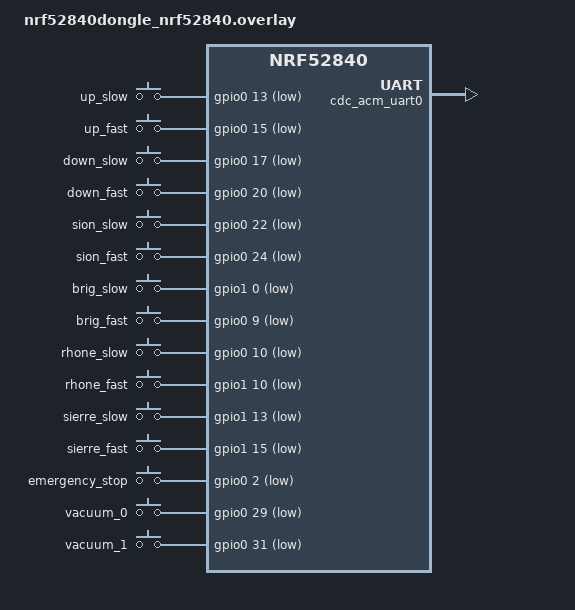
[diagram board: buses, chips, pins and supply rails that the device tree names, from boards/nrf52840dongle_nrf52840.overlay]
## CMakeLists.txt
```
cmake_minimum_required(VERSION 3.20.0)
find_package(Zephyr REQUIRED HINTS $ENV{ZEPHYR_BASE})

project(nrf52840_remote_vr)

target_sources(app PRIVATE
    src/main.c
    src/buttons_service.c
    src/buttons.c
)

# NORDIC SDK APP END
zephyr_library_include_directories(.)
```

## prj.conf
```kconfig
# Logger module
CONFIG_LOG=y

# Button and LED library
CONFIG_DK_LIBRARY=y

# Bluetooth LE
CONFIG_BT=y
CONFIG_BT_PERIPHERAL=y
CONFIG_BT_DEVICE_NAME="Remote_VR"

# Increase stack size for the main thread and System Workqueue
CONFIG_SYSTEM_WORKQUEUE_STACK_SIZE=2048
CONFIG_MAIN_STACK_SIZE=2048

# LOG USB
CONFIG_USB_DEVICE_STACK=y
CONFIG_USB_CDC_ACM=y
CONFIG_SERIAL=y
CONFIG_UART_CONSOLE=y
CONFIG_LOG=y
CONFIG_LOG_BACKEND_UART=y
CONFIG_LOG_MODE_IMMEDIATE=y
```

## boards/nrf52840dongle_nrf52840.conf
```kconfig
# USB stack and CDC ACM settings
CONFIG_USB_DEVICE_STACK=y
CONFIG_USB_DEVICE_REMOTE_WAKEUP=n
CONFIG_USB_CDC_ACM=y
CONFIG_USB_DEVICE_MANUFACTURER="Nordic Semiconductor ASA"
CONFIG_USB_DEVICE_PRODUCT="nRF52840 Dongle"
CONFIG_USB_DEVICE_VID=0x1915
CONFIG_USB_DEVICE_PID=0x0001
CONFIG_USB_DEVICE_INITIALIZE_AT_BOOT=y
CONFIG_USB_DEVICE_LOG_LEVEL_OFF=y
CONFIG_USB_CDC_ACM_LOG_LEVEL_OFF=y
CONFIG_USB_CDC_ACM_RINGBUF_SIZE=2048

# Console settings
CONFIG_CONSOLE=y
CONFIG_SERIAL=y
CONFIG_UART_CONSOLE=y
CONFIG_UART_INTERRUPT_DRIVEN=y

# Logger settings
CONFIG_LOG=y
CONFIG_LOG_BACKEND_UART=y
CONFIG_LOG_MODE_DEFERRED=y
#CONFIG_LOG_MODE_IMMEDIATE=y
```

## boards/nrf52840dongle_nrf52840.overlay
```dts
// To get started, press Ctrl+Space to bring up the completion menu and view the available nodes.

// You can also use the buttons in the sidebar to perform actions on nodes.
// Actions currently available include:

// * Enabling / disabling the node
// * Adding the bus to a bus
// * Removing the node
// * Connecting ADC channels

// For more help, browse the DeviceTree documentation at https://docs.zephyrproject.org/latest/guides/dts/index.html
// You can also visit the nRF DeviceTree extension documentation at https://docs.nordicsemi.com/bundle/nrf-connect-vscode/page/guides/ncs_configure_app.html#devicetree-support-in-the-extension


&zephyr_udc0 {
	cdc_acm_uart0: cdc_acm_uart0 {
		compatible = "zephyr,cdc-acm-uart";
		status = "okay";
	};
};

&i2c0 {
	status = "disabled";
};

&uart0 {
	status = "disabled";
};

&spi1 {
	status = "disabled";
};

&pinctrl {
	spi1_default: spi1_default { status = "disabled"; };
	spi1_sleep: spi1_sleep { status = "disabled"; };
		
    uart0_default: uart0_default { status = "disabled"; };
    uart0_sleep: uart0_sleep { status = "disabled"; };

    i2c0_default: i2c0_default { status = "disabled"; };
    i2c0_sleep: i2c0_sleep { status = "disabled"; };

    pwm0_default: pwm0_default { status = "disabled"; };
    pwm0_sleep: pwm0_sleep { status = "disabled"; };
};

&pwm0 {
	status = "disabled";
};

/ {
	chosen {
		zephyr,console = &cdc_acm_uart0;
	};

	buttons {
		compatible = "gpio-keys";

		button_1: button_1 {
			gpios = <&gpio0 13 (GPIO_ACTIVE_LOW | GPIO_PULL_UP)>;
			label = "up_slow";
		};

		button_2: button_2 {
			gpios = <&gpio0 15 (GPIO_ACTIVE_LOW | GPIO_PULL_UP)>;
			label = "up_fast";
		};

		button_3: button_3 {
			gpios = <&gpio0 17 (GPIO_ACTIVE_LOW | GPIO_PULL_UP)>;
			label = "down_slow";
		};

		button_4: button_4 {
			gpios = <&gpio0 20 (GPIO_ACTIVE_LOW | GPIO_PULL_UP)>;
			label = "down_fast";
		};

		button_5: button_5 {
			gpios = <&gpio0 22 (GPIO_ACTIVE_LOW | GPIO_PULL_UP)>;
			label = "sion_slow";
		};

		button_6: button_6 {
			gpios = <&gpio0 24 (GPIO_ACTIVE_LOW | GPIO_PULL_UP)>;
			label = "sion_fast";
		};

		button_7: button_7 {
			gpios = <&gpio1 0 (GPIO_ACTIVE_LOW | GPIO_PULL_UP)>;
			label = "brig_slow";
		};

		button_8: button_8 {
			gpios = <&gpio0 9 (GPIO_ACTIVE_LOW | GPIO_PULL_UP)>;
			label = "brig_fast";
		};

		button_9: button_9 {
			gpios = <&gpio0 10 (GPIO_ACTIVE_LOW | GPIO_PULL_UP)>;
			label = "rhone_slow";
		};

		button_10: button_10 {
			gpios = <&gpio1 10 (GPIO_ACTIVE_LOW | GPIO_PULL_UP)>;
			label = "rhone_fast";
		};

		button_11: button_11 {
			gpios = <&gpio1 13 (GPIO_ACTIVE_LOW | GPIO_PULL_UP)>;
			label = "sierre_slow";
		};

		button_12: button_12 {
			gpios = <&gpio1 15 (GPIO_ACTIVE_LOW | GPIO_PULL_UP)>;
			label = "sierre_fast";
		};

		button_13: button_13 {
			gpios = <&gpio0 2 (GPIO_ACTIVE_LOW | GPIO_PULL_UP)>;
			label = "emergency_stop";
		};

		button_14: button_14 {
			gpios = <&gpio0 29 (GPIO_ACTIVE_LOW | GPIO_PULL_UP)>;
			label = "vacuum_0";
		};

		button_15: button_15 {
			gpios = <&gpio0 31 (GPIO_ACTIVE_LOW | GPIO_PULL_UP)>;
			label = "vacuum_1";
		};
	};

	aliases {
		up-slow = &button_1;
		up-fast = &button_2;
		down-slow = &button_3;
		down-fast = &button_4;
		sion-slow = &button_5;
		sion-fast = &button_6;
		brigue-slow = &button_7;
		brigue-fast = &button_8;
		rhone-slow = &button_9;
		rhone-fast = &button_10;
		sierre-slow = &button_11;
		sierre-fast = &button_12;
		emergency-stop = &button_13;
		vacuum-0 = &button_14;
		vacuum-1 = &button_15;
	};
};
```

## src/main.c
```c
#include <zephyr/kernel.h>
#include <zephyr/logging/log.h>
#include <zephyr/bluetooth/bluetooth.h>
#include <zephyr/bluetooth/gap.h>
#include <zephyr/bluetooth/uuid.h>
#include <zephyr/bluetooth/conn.h>
#include <dk_buttons_and_leds.h>
#include "buttons_service.h"
#include "buttons.h"

/// Advertising parameters: connectable, using device identity address
static const struct bt_le_adv_param *adv_param = BT_LE_ADV_PARAM(
	(BT_LE_ADV_OPT_CONNECTABLE |
	 BT_LE_ADV_OPT_USE_IDENTITY), /* Connectable advertising and use identity address */
	800, /* Min Advertising Interval 500ms (800*0.625ms) */
	801, /* Max Advertising Interval 500.625ms (801*0.625ms) */
	NULL /* Set to NULL for undirected advertising */
);

LOG_MODULE_REGISTER(nrf52840_remote_vr, LOG_LEVEL_INF);

#define DEVICE_NAME CONFIG_BT_DEVICE_NAME
#define DEVICE_NAME_LEN (sizeof(DEVICE_NAME) - 1)

#define RUN_STATUS_LED DK_LED1
#define CON_STATUS_LED DK_LED2
#define USER_LED DK_LED3

#define STACKSIZE 1024
#define PRIORITY 7

#define RUN_LED_BLINK_INTERVAL 1000
#define NOTIFY_INTERVAL         500

/// Global variable to hold the current button state
static uint16_t app_buttons_state;

/// Advertising data: BLE flags and complete device name
static const struct bt_data ad[] = {
	BT_DATA_BYTES(BT_DATA_FLAGS, (BT_LE_AD_GENERAL | BT_LE_AD_NO_BREDR)),
	BT_DATA(BT_DATA_NAME_COMPLETE, DEVICE_NAME, DEVICE_NAME_LEN),

};

/// Scan response data: include 128-bit UUID of the buttons service
static const struct bt_data sd[] = {
	BT_DATA_BYTES(BT_DATA_UUID128_ALL, BT_UUID_BUTTONS_SERVICE_VAL),
};

/// Callback used by the GATT service to get the current button state
static uint16_t app_buttons_cb(void)
{
	return app_buttons_state;
}

/// Struct holding the application callbacks to be registered with the button service
static struct buttons_service_cb app_callbacks = {
	.buttons_cb = app_buttons_cb,
};

/// Called when button state changes
static void on_buttons_changed(uint16_t buttons_state)
{
	buttons_service_send_buttons_state_notify(buttons_state);
	app_buttons_state = buttons_state;
}

/// Called upon successful BLE connection
static void on_connected(struct bt_conn *conn, uint8_t err)
{
	if (err) {
		printk("Connection failed (err %u)\n", err);
		return;
	}

	printk("Connected\n");

	dk_set_led_on(CON_STATUS_LED);
}

/// Called when the BLE connection is terminated
static void on_disconnected(struct bt_conn *conn, uint8_t reason)
{
	printk("Disconnected (reason %u)\n", reason);

	dk_set_led_off(CON_STATUS_LED);
}

/// Register connection callbacks
struct bt_conn_cb connection_callbacks = {
	.connected = on_connected,
	.disconnected = on_disconnected,
};

int main(void)
{
	int blink_status = 0;
	int err;

	LOG_INF("Starting Remote VR device. \n");

	/// Initialize LEDs
	err = dk_leds_init();
	if (err) {
		LOG_ERR("LEDs init failed (err %d)\n", err);
		return -1;
	}

	/// Initialize buttons and set callback for state change
	err = buttons_init(on_buttons_changed);
	if (err) {
		printk("Button init failed (err %d)\n", err);
		return -1;
	}

	/// Enable Bluetooth stack
	err = bt_enable(NULL);
	if (err) {
		LOG_ERR("Bluetooth init failed (err %d)\n", err);
		return -1;
	}
	
	/// Register connection callbacks
	err = bt_conn_cb_register(&connection_callbacks);
	if (err) {
		LOG_ERR("Bluetooth connection callback register failed (err %d)\n", err);
		return -1;
	}

	/// Initialize custom button service with callback
	err = buttons_service_init(&app_callbacks);
	if (err) {
		printk("Failed to init LBS (err:%d)\n", err);
		return -1;
	}

	LOG_INF("Callback present: %d", app_callbacks.buttons_cb != NULL);
	LOG_INF("Bluetooth initialized\n");

	/// Start BLE advertising
	err = bt_le_adv_start(adv_param, ad, ARRAY_SIZE(ad), sd, ARRAY_SIZE(sd));
	if (err) {
		LOG_ERR("Advertising failed to start (err %d)\n", err);
		return -1;
	}

	LOG_INF("Advertising successfully started\n");

	/// Main loop: blink LED to indicate device is running
	for (;;) {
		dk_set_led(RUN_STATUS_LED, (++blink_status) % 2);
		k_sleep(K_MSEC(RUN_LED_BLINK_INTERVAL));
	}
}
```

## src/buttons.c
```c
#include "buttons.h"

#include <zephyr/device.h>
#include <zephyr/drivers/gpio.h>
#include <zephyr/kernel.h>
#include <zephyr/logging/log.h>

LOG_MODULE_REGISTER(buttons, LOG_LEVEL_INF);

/// Define all buttons using aliases from the DeviceTree and the enum indices 
static struct button_cfg buttons[] = {
    BUTTON_ENTRY(DT_ALIAS(up_slow),        UP_SLOW),
    BUTTON_ENTRY(DT_ALIAS(up_fast),        UP_FAST),
    BUTTON_ENTRY(DT_ALIAS(down_slow),      DOWN_SLOW),
    BUTTON_ENTRY(DT_ALIAS(down_fast),      DOWN_FAST),
    BUTTON_ENTRY(DT_ALIAS(brigue_slow),    BRIGUE_SLOW),
    BUTTON_ENTRY(DT_ALIAS(brigue_fast),    BRIGUE_FAST),
    BUTTON_ENTRY(DT_ALIAS(sion_slow),      SION_SLOW),
    BUTTON_ENTRY(DT_ALIAS(sion_fast),      SION_FAST),
    BUTTON_ENTRY(DT_ALIAS(sierre_slow),    SIERRE_SLOW),
    BUTTON_ENTRY(DT_ALIAS(sierre_fast),    SIERRE_FAST),
    BUTTON_ENTRY(DT_ALIAS(rhone_slow),     RHONE_SLOW),
    BUTTON_ENTRY(DT_ALIAS(rhone_fast),     RHONE_FAST),
    BUTTON_ENTRY(DT_ALIAS(vacuum_0),       VACUUM_0),
    BUTTON_ENTRY(DT_ALIAS(vacuum_1),       VACUUM_1),
    BUTTON_ENTRY(DT_ALIAS(emergency_stop), EMERGENCY_STOP),
};

/// Pointer to the application-level callback function for state changes
static void (*button_state_callback)(uint16_t state) = NULL;

/// Current and last state of all buttons (bitmask)
static uint16_t buttons_state_mask = 0;
static uint16_t last_buttons_state_mask = 0;

/// Array of contexts for polling-based buttons
static struct polling_ctx polling_tasks[NUM_ISR_BUTTONS];

/**
 * @brief Reads the physical state of a button (pressed or released)
 * 
 * @param index Index of the button in the array
 * @return BUTTON_PRESSED or BUTTON_RELEASED
 */
static int read_button_state(int index)
{
    int val = gpio_pin_get(buttons[index].gpio.port, buttons[index].gpio.pin);
    LOG_INF("Button index %d %s", index, val != 0 ? "pressed" : "relased");
    return val != 0 ? BUTTON_PRESSED : BUTTON_RELEASED;
}

/**
 * @brief Public function to read the state of a specific button
 * 
 * @param index Logical index of the button
 * @return State of the button or error code
 */
int button_read(button_index_t index)
{
    if (index >= NB_BUTTONS) {
        return -EINVAL;
    }

    return read_button_state(index);
}

/**
 * @brief Checks for changes in the button state and notifies via callback
 */
static void notify_state_change(void)
{
    if (buttons_state_mask != last_buttons_state_mask) {
        last_buttons_state_mask = buttons_state_mask;
        if (button_state_callback) {
            button_state_callback(buttons_state_mask);      /// Notify application
        }
    }
}

/**
 * @brief Polling work handler for buttons that require periodic sampling
 * 
 * This is used for "slave" buttons that are triggered by a corresponding "master" button.
 */
static void polling_work_handler(struct k_work *work)
{
    LOG_INF("Polling...");
    struct polling_ctx *ctx = CONTAINER_OF(work, struct polling_ctx, work.work);

    int master_state = read_button_state(ctx->master_index);
    int slave_state = read_button_state(ctx->slave_index);

    /// Update bitmask for slave button
    if (slave_state == BUTTON_PRESSED) {
        buttons_state_mask |= BIT(ctx->slave_index);
    } else {
        buttons_state_mask &= ~BIT(ctx->slave_index);
    }

    notify_state_change();

    /// Continue polling only if the master if still pressed
    if (master_state == BUTTON_PRESSED && ctx->running) {
        k_work_schedule(&ctx->work, K_MSEC(POLLING_INTERVAL_MS));
    } else {
        ctx->running = false;
    }
}

/**
 * @brief GPIO interrupt handler for button presses/releases
 * 
 * Handles state change and initiates polling for slave buttons if needed.
 */
static void button_callback_handler(const struct device *dev, struct gpio_callback *cb, uint32_t pins)
{
    struct button_cfg *btn = CONTAINER_OF(cb, struct button_cfg, gpio_cb);

    int val = gpio_pin_get(btn->gpio.port, btn->gpio.pin);
    bool pressed = (val != 0);

    /// Update global state bitmask
    if (pressed) {
        buttons_state_mask |= BIT(btn->index);
    } else {
        buttons_state_mask &= ~BIT(btn->index);
    }

    LOG_INF("Button %d %s (state=0x%04x)", btn->index, pressed ? "pressed" : "released", buttons_state_mask);

    notify_state_change();

    /// For even-indexed buttons, start or stop polling of the associated slave
    if (btn->index % 2 == 0 && btn->index + 1 < NB_BUTTONS) {
        int ctx_idx = btn->index / 2;
        struct polling_ctx *ctx = &polling_tasks[ctx_idx];

        if (pressed) {
            ctx->master_index = btn->index;
            ctx->slave_index = btn->index + 1;
            ctx->running = true;
            k_work_schedule(&ctx->work, K_NO_WAIT);     /// Start polling immediately
        } else {
            ctx->running = false;                       /// Stop polling if master is released
            k_work_cancel_delayable(&ctx->work);
        }
    }
}


/**
 * @brief Initializes GPIOs, interrupts and polling for all buttons
 * 
 * @param state_cb Callback function to notify button state changes
 * @return 0 on success, negative error code on failure
 */
int buttons_init(void (*state_cb)(uint16_t state))
{
    int ret;
    button_state_callback = state_cb;

    /// Configure GPIOs and interrupts
    for (int i = 0; i < ARRAY_SIZE(buttons); i++) {
        if (!device_is_ready(buttons[i].gpio.port)) {
            LOG_ERR("GPIO port not ready for button %d", i);
            return -ENODEV;
        }

        ret = gpio_pin_configure_dt(&buttons[i].gpio, GPIO_INPUT);
        if (ret < 0) {
            LOG_ERR("Failed to configure button %d", i);
            return ret;
        }

        /// Configure interrupts only for even-indexed buttons (masters)
        if (i % 2 == 0) {
            ret = gpio_pin_interrupt_configure_dt(&buttons[i].gpio, GPIO_INT_EDGE_BOTH);
            if (ret < 0) {
                LOG_ERR("Failed to set interrupt on button %d", i);
                return ret;
            }

            gpio_init_callback(&buttons[i].gpio_cb, button_callback_handler, BIT(buttons[i].gpio.pin));
            gpio_add_callback(buttons[i].gpio.port, &buttons[i].gpio_cb);
        }
    }

    /// Initialize delayed work for polling contexts
    for (int i = 0; i < NUM_ISR_BUTTONS; i++) {
        k_work_init_delayable(&polling_tasks[i].work, polling_work_handler);
        polling_tasks[i].running = false;
    }

    LOG_INF("Buttons initialized");
    return 0;
}
```

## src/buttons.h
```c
#ifndef BUTTONS_H_
#define BUTTONS_H_

#include <zephyr/kernel.h>
#include <zephyr/drivers/gpio.h>
#include <zephyr/devicetree.h>

/** @file buttons.h
 * @brief Module for handling buttons mapped on nRF52840 DONGLE PINS
 */

#define BUTTON_PRESSED 1
#define BUTTON_RELEASED 0
#define NB_BUTTONS 15                       /// Number of buttons
#define DEBOUNCE_MS 10                      /// Debounce time
#define NUM_ISR_BUTTONS 8                   /// Number of buttons handled via ISR
#define POLLING_INTERVAL_MS 100             /// Polling interval for buttons not handled by ISR

/// Macro to define a button entry using GPIO information from DeviceTree
#define BUTTON_ENTRY(alias, idx_enum) \
    { .gpio = GPIO_DT_SPEC_GET_OR(alias, gpios, {0}), .index = idx_enum }

/// Enum use to handle the index of all buttons via their logical roles
typedef enum {
    UP_SLOW,
    UP_FAST,
    DOWN_SLOW,
    DOWN_FAST,
    BRIGUE_SLOW,
    BRIGUE_FAST,
    SION_SLOW,
    SION_FAST,
    SIERRE_SLOW,
    SIERRE_FAST,
    RHONE_SLOW,
    RHONE_FAST,
    VACUUM_0,
    VACUUM_1,
    EMERGENCY_STOP
} button_index_t;

/// Configuration for a single button
struct button_cfg {
    const struct gpio_dt_spec gpio;     /// GPIO specification from the DeviceTree
    struct gpio_callback gpio_cb;       /// Callback structure for GPIO interrupt handling
    button_index_t index;               /// Logical index from the enum above
};

/// Context structure for polling-based button handling
struct polling_ctx {
    struct k_work_delayable work;       /// Zephyr work item for periodic polling
    bool running;                       /// Indicates whether the polling is active
    uint8_t master_index;               /// Index used for grouping or addressing 
                                        /// (use depends on implementation)
    uint8_t slave_index;                /// Same as above, purpose depends on system logic
};

/** Initializes all buttons (ISR-based or polling-based) and registers a callback 
 *  to receive button state changes.
 *  @param state_cb Callback function that receives the current button state bitmap
 * */
int buttons_init(void (*state_cb)(uint16_t state));

#endif // BUTTONS_H_
```

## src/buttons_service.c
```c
/** @file
 *  @brief Buttons Service
 */

#include <zephyr/types.h>
#include <stddef.h>
#include <string.h>
#include <errno.h>
#include <zephyr/sys/printk.h>
#include <zephyr/sys/byteorder.h>
#include <zephyr/kernel.h>
#include <zephyr/logging/log.h>
#include <zephyr/bluetooth/bluetooth.h>
#include <zephyr/bluetooth/hci.h>
#include <zephyr/bluetooth/conn.h>
#include <zephyr/bluetooth/uuid.h>
#include <zephyr/bluetooth/gatt.h>

#include "buttons_service.h"

LOG_MODULE_REGISTER(buttons_service, LOG_LEVEL_ERR);

static uint16_t buttons_state_ble;

static bool buttons_service_notify_enabled;
static struct buttons_service_cb btns_callback;

static void buttons_service_ccc_cfg_changed(const struct bt_gatt_attr *attr,
    uint16_t value)
{
	buttons_service_notify_enabled = (value == BT_GATT_CCC_NOTIFY);
	printk("Nofitication changed to : %s\n", buttons_service_notify_enabled ? "enable" : "disable");
}

int buttons_service_init(struct buttons_service_cb *callbacks){
    if (callbacks) {
        btns_callback.buttons_cb = callbacks->buttons_cb;
    }

    return 0;
}

static ssize_t read_buttons(struct bt_conn *conn, const struct bt_gatt_attr *attr, void *buf,
			   uint16_t len, uint16_t offset)
{
	LOG_INF("read_buttons() called — conn %p", (void*)conn);

	LOG_INF("Attribute read, handle: %u, conn: %p", attr->handle, (void *)conn);

	if (btns_callback.buttons_cb) {
		// Call the application callback function to update the get the current value of the button
		buttons_state_ble = btns_callback.buttons_cb();
		return bt_gatt_attr_read(conn, attr, buf, len, offset, &buttons_state_ble, sizeof(buttons_state_ble));
	}

	return 0;
}

BT_GATT_SERVICE_DEFINE(
	buttons_service_svc, BT_GATT_PRIMARY_SERVICE(BT_UUID_BUTTONS_SERVICE),
	BT_GATT_CHARACTERISTIC(BT_UUID_BUTTONS_SERVICE_BUTTONS_CHARACTERISTIC, 
		BT_GATT_CHRC_READ | BT_GATT_CHRC_NOTIFY, 
		BT_GATT_PERM_READ, read_buttons, NULL,
		&buttons_state_ble),
	BT_GATT_CCC(buttons_service_ccc_cfg_changed,
		BT_GATT_PERM_READ | BT_GATT_PERM_WRITE)
);

int buttons_service_send_buttons_state_notify(uint16_t button_state){
    if (!buttons_service_notify_enabled) {
        return -EACCES;
    }

	printk("Sending notification...\n");

    return bt_gatt_notify(NULL, &buttons_service_svc.attrs[2], &button_state, sizeof(button_state));
}
```

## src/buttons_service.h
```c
/**@file
 * @defgroup buttons_service Button Service API
 * @{
 * @brief API for the Buttons Service.
 */

#ifndef BT_BUTTONS_SERVICE_H_
#define BT_BUTTONS_SERVICE_H_

#ifdef __cplusplus
extern "C" {
#endif

//#include <zephyr/types.h>

/** @brief BUTTONS_SERVICE Service UUID. */
#define BT_UUID_BUTTONS_SERVICE_VAL 																			\
	BT_UUID_128_ENCODE(0x00001523, 0x1212, 0xefde, 0x1523, 0x785feabcd123)

/** @brief Buttons Characteristic UUID. */
#define BT_UUID_BUTTONS_SERVICE_BUTTONS_VAL                                                                     \
	BT_UUID_128_ENCODE(0x00001524, 0x1212, 0xefde, 0x1523, 0x785feabcd123)

#define BT_UUID_BUTTONS_SERVICE BT_UUID_DECLARE_128(BT_UUID_BUTTONS_SERVICE_VAL)
#define BT_UUID_BUTTONS_SERVICE_BUTTONS_CHARACTERISTIC BT_UUID_DECLARE_128(BT_UUID_BUTTONS_SERVICE_BUTTONS_VAL)

/** @brief Callback type for when the button state is pulled. */
typedef uint16_t (*buttons_cb_t)(void);

/** @brief Callback struct used by the Button Service. */
struct buttons_service_cb {
	/** Button read callback. */
	buttons_cb_t buttons_cb;
};

/** @brief Initialize the Button Service.
 *
 * This function registers application callback functions with the Button
 * Service
 *
 * @param[in] callbacks Struct containing pointers to callback functions
 *			used by the service. This pointer can be NULL
 *			if no callback functions are defined.
 *
 *
 * @retval 0 If the operation was successful.
 *           Otherwise, a (negative) error code is returned.
 */
int buttons_service_init(struct buttons_service_cb *callbacks);

/** @brief Send the button state as notification.
 *
 * This function sends a binary state, typically the state of a
 * button, to all connected peers.
 *
 * @param[in] button_state The state of the button.
 *
 * @retval 0 If the operation was successful.
 *           Otherwise, a (negative) error code is returned.
 */
int buttons_service_send_buttons_state_notify(uint16_t button_state);

#ifdef __cplusplus
}
#endif

/**
 * @}
 */

#endif /* BT_BUTTONS_SERVICE_H_ */
```
